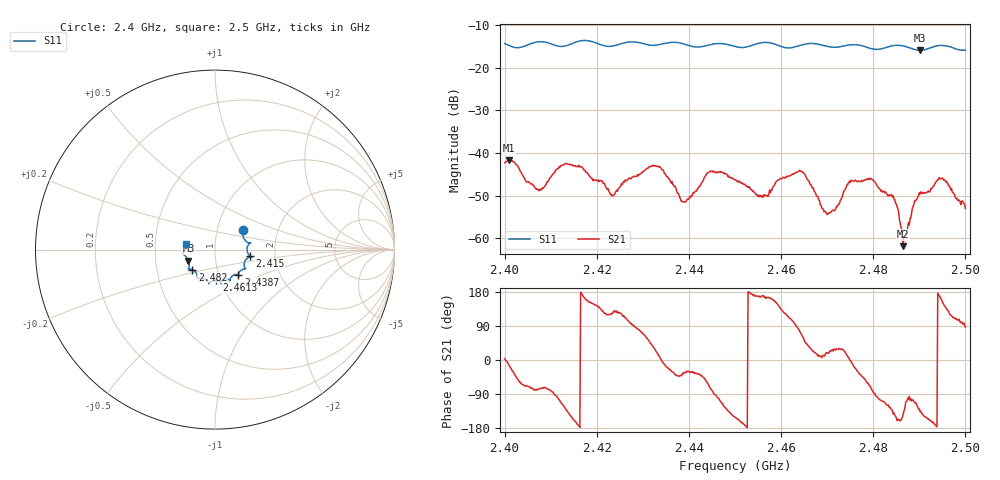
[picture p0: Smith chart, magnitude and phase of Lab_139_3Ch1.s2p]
# Hz S RI R 50
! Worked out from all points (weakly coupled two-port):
!   601 points, 2.4 GHz to 2.5 GHz, reference 50 ohm
!   highest |S21| = -41.70 dB at 2.401 GHz (marker M1); lowest = -61.9 dB at 2.4865 GHz (marker M2)
!   lowest |S11| = -15.9 dB at 2.4902 GHz (marker M3), VSWR 1.38, Z = 36.8 - j4.63 ohm
!   |S11| at or under -10 dB: start of sweep to end of sweep
!   S12 and S22 are empty: the file has one direction only
!   S11 on the Smith chart (normalised r, x): 2.4 GHz: 1.33, +0.31; 2.415 GHz: 1.47, -0.11; 2.4387 GHz: 1.24, -0.36; 2.4613 GHz: 0.96, -0.34; 2.482 GHz: 0.76, -0.17; 2.5 GHz: 0.72, +0.05
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2.4e9  0.1572 0.1118  0.0077 0.000486  0 0  0 0
2.401e9  0.1549 0.097  0.00795 -0.00207  0 0  0 0
2.4075e9  0.1992 0.0376  0.000839 -0.00351  0 0  0 0
2.415e9  0.1926 -0.0358  -0.00664 -0.00264  0 0  0 0
2.416667e9  0.204 -0.0437  -0.00686 0.000605  0 0  0 0
2.4235e9  0.1624 -0.0789  -0.00175 0.00262  0 0  0 0
2.433333e9  0.1319 -0.132  0.00679 0.00166  0 0  0 0
2.438667e9  0.1299 -0.1414  0.00222 -0.00153  0 0  0 0
2.4445e9  0.0836 -0.1669  0.00195 -0.00567  0 0  0 0
2.45e9  0.0689 -0.1646  -0.00422 -0.00239  0 0  0 0
2.455667e9  0.0359 -0.1937  -0.00297 0.000725  0 0  0 0
2.461333e9  0.00815 -0.171  -0.00242 0.00464  0 0  0 0
2.466667e9  -0.0347 -0.1904  0.00357 0.00182  0 0  0 0
2.470333e9  -0.0465 -0.1711  0.00187 0.000639  0 0  0 0
2.475167e9  -0.0938 -0.1612  0.00481 -0.000295  0 0  0 0
2.482e9  -0.126 -0.1116  -0.00108 -0.0033  0 0  0 0
2.483333e9  -0.1396 -0.1086  -0.00153 -0.00274  0 0  0 0
2.484833e9  -0.1483 -0.1089  -0.00219 -0.00135  0 0  0 0
2.4865e9  -0.1476 -0.1051  -0.000647 -0.000482  0 0  0 0
2.490167e9  -0.1483 -0.0613  -0.00239 -0.00228  0 0  0 0
2.494833e9  -0.1825 -0.0199  -0.00472 0.0018  0 0  0 0
2.5e9  -0.1588 0.0327  0.000115 0.00223  0 0  0 0
